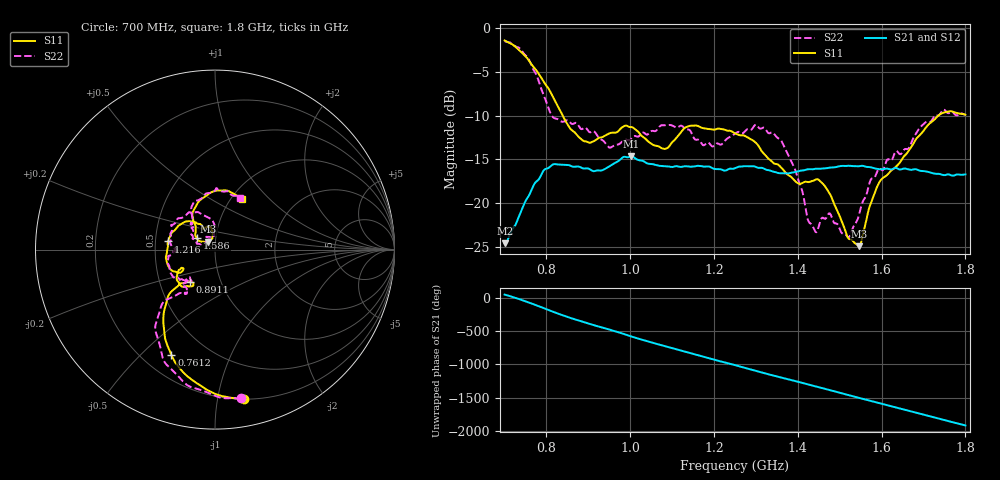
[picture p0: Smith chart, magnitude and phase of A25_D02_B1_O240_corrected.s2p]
! Created with skrf 1.9.0 (http://scikit-rf.org).
# Hz S RI R 50.0
!freq ReS11 ImS11 ReS21 ImS21 ReS12 ImS12 ReS22 ImS22
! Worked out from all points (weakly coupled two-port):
!   1601 points, 700 MHz to 1.8 GHz, reference 50 ohm
!   highest |S21| = -14.66 dB at 1.002 GHz (marker M1); lowest = -24.6 dB at 701.4 MHz (marker M2)
!   lowest |S11| = -24.9 dB at 1.546 GHz (marker M3), VSWR 1.12, Z = 46.3 + j4.07 ohm
!   |S11| at or under -10 dB: 838.8 MHz to 1.735 GHz (896.3 MHz wide, 69.6 % of centre)
!   |S22| runs from -23.9 to -1.5 dB; largest |S21 - S12| = 0.0034
!   S11 on the Smith chart (normalised r, x): 700 MHz: 0.20, -1.19; 761.2 MHz: 0.32, -0.62; 891.1 MHz: 0.72, -0.27; 1.216 GHz: 0.58, +0.06; 1.586 GHz: 0.81, +0.10; 1.8 GHz: 1.12, +0.71
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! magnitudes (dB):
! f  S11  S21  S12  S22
! 700 MHz  -1.4  -24.6  -24.3  -1.5
! 701.4 MHz  -1.5  -24.6  -24.2  -1.5
! 761.2 MHz  -3.9  -18.8  -18.7  -3.9
! 814.1 MHz  -7.7  -15.6  -15.6  -10.1
! 883.6 MHz  -12.7  -16.0  -15.8  -11.5
! 891.1 MHz  -12.9  -16.0  -16.0  -11.4
! 950.9 MHz  -12.0  -15.8  -15.8  -13.6
! 1.002 GHz  -11.3  -14.7  -14.8  -12.7
! 1.067 GHz  -13.5  -15.7  -15.6  -11.4
! 1.139 GHz  -11.2  -15.8  -15.8  -11.6
! 1.216 GHz  -11.5  -16.1  -16.1  -13.3
! 1.25 GHz  -12.0  -16.0  -15.9  -12.1
! 1.3 GHz  -13.1  -15.9  -15.9  -11.0
! 1.359 GHz  -15.8  -16.6  -16.5  -12.8
! 1.434 GHz  -17.5  -16.1  -16.1  -22.5
! 1.476 GHz  -18.8  -15.9  -16.0  -21.1
! 1.521 GHz  -24.0  -15.7  -15.7  -23.9
! 1.546 GHz  -24.9  -15.8  -15.7  -21.3
! 1.586 GHz  -18.5  -16.0  -16.0  -16.8
! 1.617 GHz  -16.6  -16.1  -16.1  -15.0
! 1.737 GHz  -9.9  -16.6  -16.7  -9.9
! 1.8 GHz  -9.9  -16.7  -16.7  -9.9
